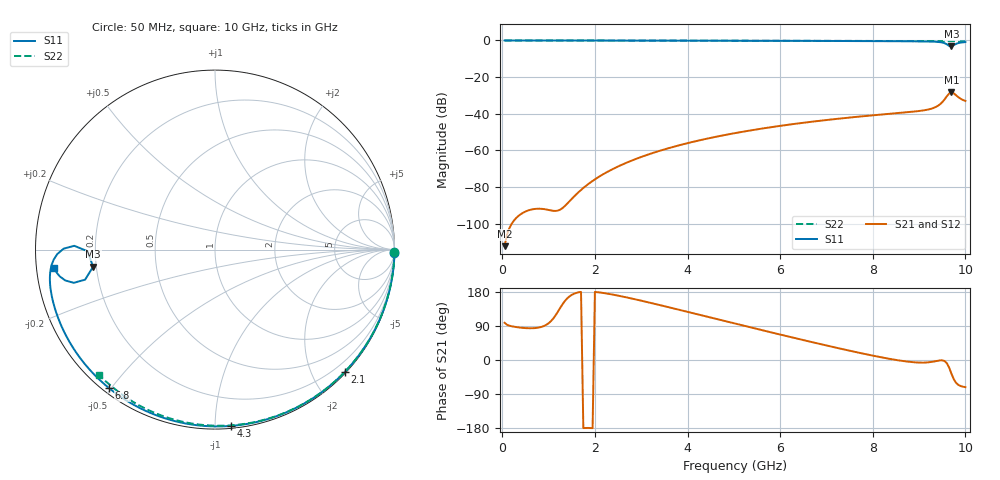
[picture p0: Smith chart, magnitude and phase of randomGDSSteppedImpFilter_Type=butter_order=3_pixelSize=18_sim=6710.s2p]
! freq	dB(S11)	phase(S11)	dB(S12)	phase(S12)
!  dB(S21)	phase(S21)	dB(S22)	phase(S22)
!S-par simulation data
#  GHz  S  DB  R 50
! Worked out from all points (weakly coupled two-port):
!   200 points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, 50 MHz to 10 GHz, reference 50 ohm
!   highest |S21| = -28.34 dB at 9.7 GHz (marker M1); lowest = -112.3 dB at 50 MHz (marker M2)
!   lowest |S11| = -3.3 dB at 9.7 GHz (marker M3), VSWR 5.37, Z = 9.36 - j3.39 ohm
!   |S11| at or under -10 dB: nowhere
!   |S22| runs from -0.4 to 0.0 dB; largest |S21 - S12| = 0
!   S11 on the Smith chart (normalised r, x): 50 MHz: open; 2.1 GHz: 0.02, -2.52; 4.3 GHz: 0.02, -1.09; 6.8 GHz: 0.02, -0.49; 10 GHz: 0.05, -0.06
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0.05  -0.00 -1.1  -112.31 98.2  -112.31 98.2  -0.00 -0.8
0.85  -0.02 -17.8  -91.93 87.5  -91.93 87.5  -0.02 -13.0
1.75  -0.05 -36.3  -80.53 -179.6  -80.53 -179.6  -0.03 -26.4
2.1  -0.05 -43.3  -74.21 178.3  -74.21 178.3  -0.04 -31.6
2.7  -0.07 -55.1  -66.56 164.8  -66.56 164.8  -0.05 -40.3
3.4  -0.09 -68.4  -60.23 145.0  -60.23 145.0  -0.07 -50.3
4.3  -0.12 -84.9  -54.28 118.1  -54.28 118.1  -0.09 -62.8
5.05  -0.15 -98.1  -50.47 95.4  -50.47 95.4  -0.11 -72.8
5.85  -0.19 -111.7  -47.17 71.6  -47.17 71.6  -0.14 -83.2
6.7  -0.24 -125.8  -44.31 46.8  -44.31 46.8  -0.18 -93.8
6.8  -0.25 -127.4  -44.01 43.9  -44.01 43.9  -0.19 -95.0
8.35  -0.39 -153.1  -40.08 3.3  -40.08 3.3  -0.29 -113.6
9  -0.50 -164.9  -38.52 -6.8  -38.52 -6.8  -0.35 -121.1
9.3  -0.64 -171.7  -36.97 -4.5  -36.97 -4.5  -0.38 -124.6
9.45  -0.91 -176.5  -34.88 -1.0  -34.88 -1.0  -0.40 -126.3
9.6  -2.11 178.5  -30.46 -8.5  -30.46 -8.5  -0.41 -127.9
9.65  -2.98 -179.3  -28.93 -20.3  -28.93 -20.3  -0.41 -128.5
9.7  -3.27 -172.0  -28.34 -36.5  -28.34 -36.5  -0.41 -129.1
9.75  -2.58 -167.0  -28.89 -51.1  -28.89 -51.1  -0.41 -129.7
9.8  -1.85 -166.8  -29.95 -60.5  -29.95 -60.5  -0.41 -130.3
9.9  -1.13 -170.2  -31.85 -68.8  -31.85 -68.8  -0.42 -131.5
10  -0.88 -173.6  -33.02 -71.6  -33.02 -71.6  -0.44 -132.6
